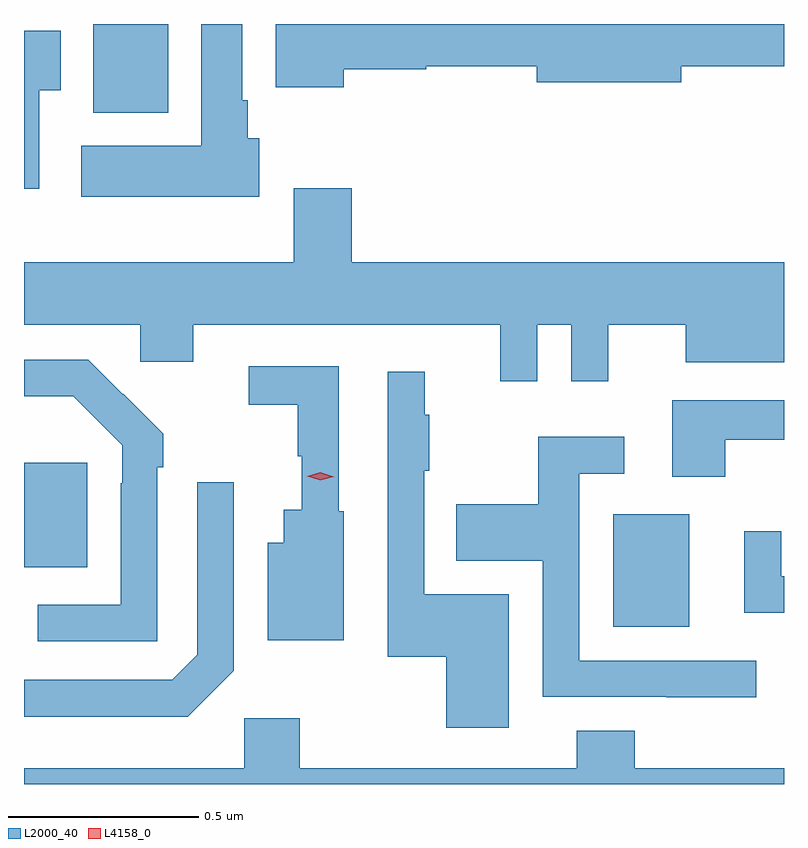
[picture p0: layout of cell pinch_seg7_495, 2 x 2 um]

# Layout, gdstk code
import gdstk
lib = gdstk.Library(unit=1e-6, precision=1e-09)
def R(c, l, rs):  # rectangles x0, y0, x1, y1
    for r in rs: c.add(gdstk.rectangle(r[:2], r[2:], *l))
def P(c, l, *ps):  # polygons
    for p in ps: c.add(gdstk.Polygon(p, *l))
L2000_40 = (2000, 40)
L4158_0 = (4158, 0)

pinch_seg7_495 = lib.new_cell('pinch_seg7_495')
R(pinch_seg7_495, L2000_40, [(181.307,1074.413,181.507,1074.709), (179.757,1074.569,179.923,1074.844), (179.939,1075.766,180.136,1075.999)])
P(pinch_seg7_495, L2000_40, [(180.598,1075.88),(180.816,1075.88),(180.816,1075.888),(181.106,1075.888),(181.106,1075.846),(181.486,1075.846),(181.486,1075.888),(181.757,1075.888),(181.757,1075.999),(180.419,1075.999),(180.419,1075.832),(180.598,1075.832)],
  [(180.376,1075.698),(180.346,1075.698),(180.346,1075.798),(180.331,1075.798),(180.331,1075.999),(180.224,1075.999),(180.224,1075.678),(179.907,1075.678),(179.907,1075.544),(180.376,1075.544)],
  [(179.797,1075.825),(179.854,1075.825),(179.854,1075.981),(179.757,1075.981),(179.757,1075.566),(179.797,1075.566)],
  [(181.107,1075.208),(181.197,1075.208),(181.197,1075.059),(181.295,1075.059),(181.295,1075.208),(181.499,1075.208),(181.499,1075.109),(181.757,1075.109),(181.757,1075.372),(180.62,1075.372),(180.62,1075.567),(180.467,1075.567),(180.467,1075.372),(179.757,1075.372),(179.757,1075.208),(180.063,1075.208),(180.063,1075.11),(180.202,1075.11),(180.202,1075.208),(181.01,1075.208),(181.01,1075.059),(181.107,1075.059)],
  [(180.108,1074.833),(180.123,1074.833),(180.123,1074.921),(180.018,1075.026),(180.017,1075.025),(179.926,1075.116),(179.757,1075.116),(179.757,1075.02),(179.887,1075.02),(180.015,1074.891),(180.015,1074.791),(180.012,1074.791),(180.012,1074.471),(179.793,1074.471),(179.793,1074.375),(180.108,1074.375)],
  [(180.598,1074.717),(180.585,1074.717),(180.585,1075.098),(180.348,1075.098),(180.348,1074.997),(180.477,1074.997),(180.477,1074.861),(180.488,1074.861),(180.488,1074.721),(180.44,1074.721),(180.44,1074.634),(180.398,1074.634),(180.398,1074.377),(180.598,1074.377)],
  [(181.033,1074.499),(180.81,1074.499),(180.81,1074.823),(180.823,1074.823),(180.823,1074.971),(180.812,1074.971),(180.812,1075.084),(180.714,1075.084),(180.714,1074.334),(180.868,1074.334),(180.868,1074.147),(181.033,1074.147)],
  [(181.603,1074.905),(181.757,1074.905),(181.757,1075.009),(181.463,1075.009),(181.463,1074.807),(181.603,1074.807)],
  [(181.684,1074.324),(181.218,1074.324),(181.218,1074.816),(181.336,1074.816),(181.336,1074.913),(181.11,1074.913),(181.11,1074.735),(180.895,1074.735),(180.895,1074.587),(181.122,1074.587),(181.122,1074.228),(181.447,1074.228),(181.447,1074.227),(181.684,1074.227)],
  [(180.309,1074.297),(180.309,1074.793),(180.213,1074.793),(180.213,1074.339),(180.147,1074.273),(179.757,1074.273),(179.757,1074.176),(180.188,1074.176)],
  [(181.757,1074.546),(181.75,1074.546),(181.75,1074.664),(181.652,1074.664),(181.652,1074.45),(181.757,1074.45)],
  [(181.757,1074.04),(181.364,1074.04),(181.364,1074.139),(181.211,1074.139),(181.211,1074.04),(180.483,1074.04),(180.483,1074.172),(180.336,1074.172),(180.336,1074.04),(179.757,1074.04),(179.757,1073.999),(181.757,1073.999)])
P(pinch_seg7_495, L4158_0, [(180.537,1074.799),(180.502,1074.809),(180.502,1074.809),(180.502,1074.809),(180.537,1074.819),(180.572,1074.808),(180.573,1074.808),(180.572,1074.808)])

lib.write_gds('pinch_seg7_495.gds')
